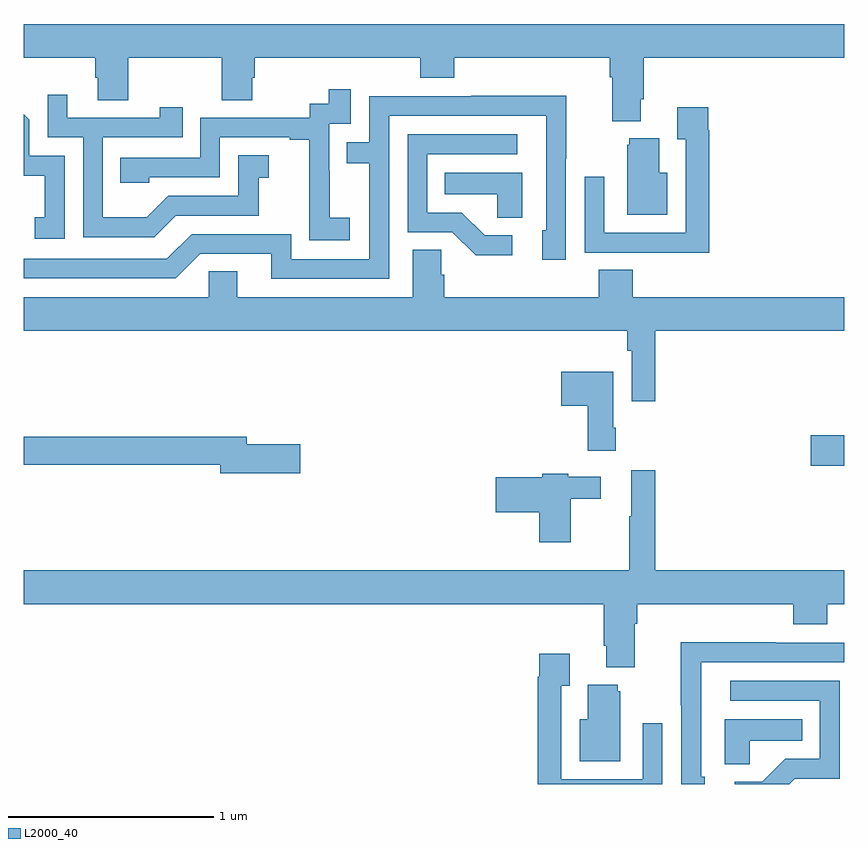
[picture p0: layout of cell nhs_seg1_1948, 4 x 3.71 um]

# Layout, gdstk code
import gdstk
lib = gdstk.Library(unit=1e-6, precision=1e-09)
def R(c, l, rs):  # rectangles x0, y0, x1, y1
    for r in rs: c.add(gdstk.rectangle(r[:2], r[2:], *l))
def P(c, l, *ps):  # polygons
    for p in ps: c.add(gdstk.Polygon(p, *l))
L2000_40 = (2000, 40)

nhs_seg1_1948 = lib.new_cell('nhs_seg1_1948')
R(nhs_seg1_1948, L2000_40, [(220.836,541.751,221,541.898)])
P(nhs_seg1_1948, L2000_40, [(220.009,543.538),(220.022,543.538),(220.022,543.74),(221,543.74),(221,543.904),(217,543.904),(217,543.74),(217.349,543.74),(217.349,543.642),(217.361,543.642),(217.361,543.532),(217.509,543.532),(217.509,543.74),(217.966,543.74),(217.966,543.532),(218.113,543.532),(218.113,543.642),(218.126,543.642),(218.126,543.74),(218.933,543.74),(218.933,543.641),(219.098,543.641),(219.098,543.74),(219.857,543.74),(219.857,543.644),(219.869,543.644),(219.869,543.431),(220.009,543.431)],
  [(218.59,542.959),(218.492,542.959),(218.492,543.188),(218.49,543.188),(218.49,543.417),(218.595,543.417),(218.595,543.586),(218.487,543.586),(218.487,543.516),(218.394,543.516),(218.394,543.447),(217.86,543.447),(217.86,543.252),(217.471,543.252),(217.471,543.129),(217.611,543.129),(217.611,543.156),(217.956,543.156),(217.956,543.351),(218.297,543.351),(218.297,543.339),(218.393,543.339),(218.393,543.055),(218.392,543.055),(218.392,542.849),(218.59,542.849)],
  [(217.741,542.97),(218.145,542.97),(218.145,543.155),(218.194,543.155),(218.194,543.265),(218.046,543.265),(218.046,543.066),(217.704,543.066),(217.6,542.962),(217.386,542.962),(217.386,543.351),(217.775,543.351),(217.775,543.499),(217.664,543.499),(217.664,543.447),(217.213,543.447),(217.213,543.559),(217.116,543.559),(217.116,543.351),(217.29,543.351),(217.29,542.865),(217.636,542.865)],
  [(218.781,543.456),(219.546,543.456),(219.546,542.898),(219.527,542.898),(219.527,542.754),(219.642,542.754),(219.642,543.247),(219.645,543.247),(219.645,543.554),(219.181,543.554),(219.181,543.552),(218.685,543.552),(218.685,543.327),(218.575,543.327),(218.575,543.226),(218.685,543.226),(218.685,542.757),(218.304,542.757),(218.304,542.88),(217.818,542.88),(217.698,542.76),(217,542.76),(217,542.664),(217.74,542.664),(217.86,542.784),(218.207,542.784),(218.207,542.661),(218.781,542.661)],
  [(220.343,543.386),(220.336,543.386),(220.336,543.499),(220.187,543.499),(220.187,543.343),(220.227,543.343),(220.227,542.886),(219.831,542.886),(219.831,543.16),(219.735,543.16),(219.735,542.79),(220.051,542.79),(220.051,542.789),(220.343,542.789)],
  [(217.2,543.261),(217.026,543.261),(217.026,543.438),(217,543.464),(217,543.165),(217.103,543.165),(217.103,542.961),(217.054,542.961),(217.054,542.856),(217.2,542.856)],
  [(219.382,542.874),(219.247,542.874),(219.136,542.985),(218.967,542.985),(218.967,543.27),(219.406,543.27),(219.406,543.366),(218.871,543.366),(218.871,542.889),(219.09,542.889),(219.203,542.777),(219.382,542.777)],
  [(220.138,543.178),(220.099,543.178),(220.099,543.346),(219.953,543.346),(219.953,543.315),(219.941,543.315),(219.941,542.975),(220.138,542.975)],
  [(219.43,543.178),(219.052,543.178),(219.052,543.074),(219.309,543.074),(219.309,542.959),(219.43,542.959)],
  [(220.079,542.408),(221,542.408),(221,542.572),(219.968,542.572),(219.968,542.705),(219.803,542.705),(219.803,542.572),(219.05,542.572),(219.05,542.681),(219.036,542.681),(219.036,542.804),(218.897,542.804),(218.897,542.572),(218.041,542.572),(218.041,542.699),(217.902,542.699),(217.902,542.572),(217,542.572),(217,542.408),(219.943,542.408),(219.943,542.312),(219.963,542.312),(219.963,542.064),(220.079,542.064)],
  [(219.887,541.936),(219.874,541.936),(219.874,542.209),(219.621,542.209),(219.621,542.042),(219.749,542.042),(219.749,541.824),(219.887,541.824)],
  [(218.347,541.856),(218.086,541.856),(218.086,541.892),(217,541.892),(217,541.756),(217.958,541.756),(217.958,541.714),(218.347,541.714)],
  [(219.979,540.98),(219.992,540.98),(219.992,541.076),(220.751,541.076),(220.751,540.977),(220.916,540.977),(220.916,541.076),(221,541.076),(221,541.24),(220.079,541.24),(220.079,541.729),(219.962,541.729),(219.962,541.505),(219.951,541.505),(219.951,541.24),(217,541.24),(217,541.076),(219.827,541.076),(219.827,540.874),(219.839,540.874),(219.839,540.767),(219.979,540.767)],
  [(219.666,541.59),(219.814,541.59),(219.814,541.698),(219.654,541.698),(219.654,541.711),(219.528,541.711),(219.528,541.694),(219.3,541.694),(219.3,541.523),(219.512,541.523),(219.512,541.377),(219.666,541.377)],
  [(220.321,540.234),(220.302,540.234),(220.302,540.792),(221,540.792),(221,540.888),(220.667,540.888),(220.667,540.89),(220.204,540.89),(220.204,540.583),(220.206,540.583),(220.206,540.199),(220.321,540.199)],
  [(220.113,540.496),(220.017,540.496),(220.017,540.222),(219.621,540.222),(219.621,540.679),(219.661,540.679),(219.661,540.835),(219.513,540.835),(219.513,540.722),(219.505,540.722),(219.505,540.199),(220.113,540.199)],
  [(220.758,540.225),(220.977,540.225),(220.977,540.702),(220.443,540.702),(220.443,540.606),(220.881,540.606),(220.881,540.321),(220.712,540.321),(220.601,540.21),(220.467,540.21),(220.467,540.199),(220.732,540.199)],
  [(219.907,540.651),(219.896,540.651),(219.896,540.682),(219.749,540.682),(219.749,540.514),(219.71,540.514),(219.71,540.311),(219.907,540.311)],
  [(220.539,540.41),(220.796,540.41),(220.796,540.514),(220.418,540.514),(220.418,540.295),(220.539,540.295)])

lib.write_gds('nhs_seg1_1948.gds')
